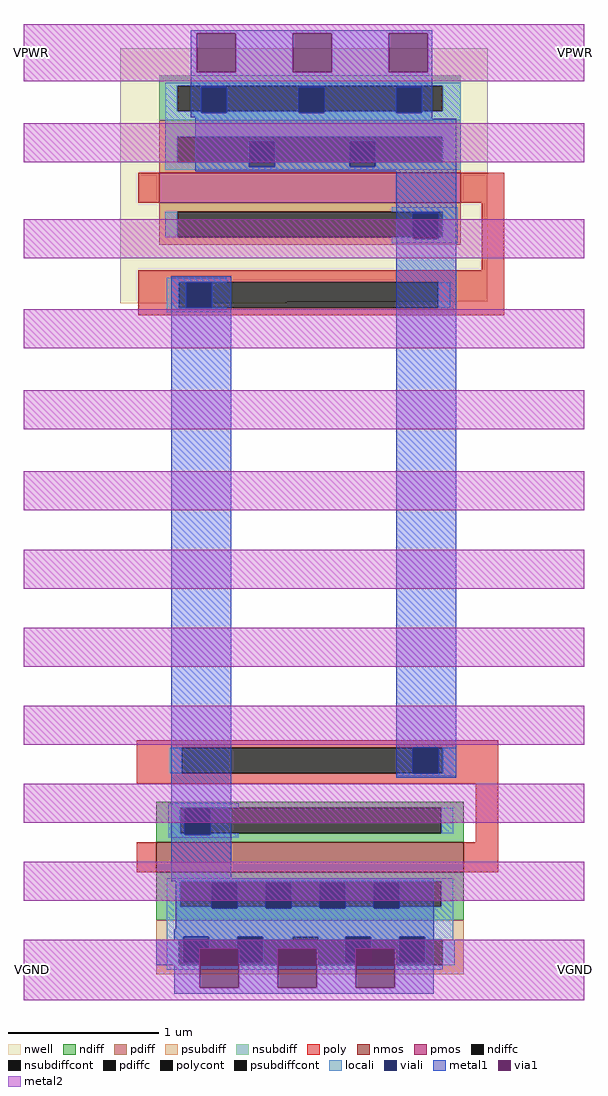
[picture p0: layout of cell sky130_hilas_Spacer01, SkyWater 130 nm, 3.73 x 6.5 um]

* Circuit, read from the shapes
.subckt sky130_hilas_Spacer01 VPWR VGND
XM1 VGND VPWR VGND VGND sky130_fd_pr__nfet_01v8 w=2.05 l=0.2
XM2 VPWR VGND VPWR VPWR sky130_fd_pr__pfet_01v8 w=2.01 l=0.2
.ends

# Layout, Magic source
magic
tech sky130A
<< nwell >>
rect 64 465 309 634
rect 64 464 175 465
<< nmos >>
rect 88 85 293 105
<< pmos >>
rect 90 531 291 551
<< ndiff >>
rect 88 128 293 132
rect 88 111 104 128
rect 278 111 293 128
rect 88 105 293 111
rect 88 79 293 85
rect 88 62 104 79
rect 278 62 293 79
rect 88 53 293 62
<< pdiff >>
rect 90 575 291 586
rect 90 558 102 575
rect 279 558 291 575
rect 90 551 291 558
rect 90 525 291 531
rect 90 508 102 525
rect 279 508 291 525
rect 90 503 291 508
<< ndiffc >>
rect 104 111 278 128
rect 104 62 278 79
<< pdiffc >>
rect 102 558 279 575
rect 102 508 279 525
<< psubdiff >>
rect 88 42 293 53
rect 88 40 142 42
rect 159 40 179 42
rect 196 40 214 42
rect 231 40 250 42
rect 267 40 293 42
rect 88 23 103 40
rect 279 23 293 40
rect 88 17 293 23
<< nsubdiff >>
rect 90 609 291 616
rect 90 592 102 609
rect 279 592 291 609
rect 90 586 291 592
<< psubdiffcont >>
rect 142 40 159 42
rect 179 40 196 42
rect 214 40 231 42
rect 250 40 267 42
rect 103 23 279 40
<< nsubdiffcont >>
rect 102 592 279 609
<< poly >>
rect 76 531 90 551
rect 291 531 320 551
rect 305 486 320 531
rect 76 478 320 486
rect 76 461 103 478
rect 276 461 320 478
rect 76 456 320 461
rect 75 168 316 173
rect 75 151 105 168
rect 279 151 316 168
rect 75 144 316 151
rect 301 105 316 144
rect 75 85 88 105
rect 293 85 316 105
<< polycont >>
rect 103 461 276 478
rect 105 151 279 168
<< locali >>
rect 94 609 291 611
rect 94 592 102 609
rect 279 592 291 609
rect 94 591 118 592
rect 135 591 183 592
rect 200 591 248 592
rect 265 591 291 592
rect 94 575 291 591
rect 94 558 102 575
rect 279 558 291 575
rect 94 555 150 558
rect 167 555 217 558
rect 234 555 291 558
rect 94 553 291 555
rect 245 525 289 528
rect 94 508 102 525
rect 279 508 289 525
rect 245 507 259 508
rect 276 507 289 508
rect 245 504 289 507
rect 95 478 135 481
rect 95 461 103 478
rect 276 461 284 478
rect 95 458 135 461
rect 97 151 105 168
rect 279 151 288 168
rect 248 149 288 151
rect 96 128 143 131
rect 96 111 104 128
rect 278 111 286 128
rect 96 110 107 111
rect 124 110 143 111
rect 96 108 143 110
rect 95 79 286 81
rect 95 62 104 79
rect 278 62 286 79
rect 95 61 125 62
rect 142 61 161 62
rect 178 61 197 62
rect 214 61 233 62
rect 250 61 286 62
rect 95 42 286 61
rect 95 40 106 42
rect 123 40 142 42
rect 95 23 103 40
rect 159 40 179 42
rect 196 40 214 42
rect 231 40 250 42
rect 267 40 286 42
rect 279 23 287 40
rect 95 20 279 23
<< viali >>
rect 118 592 135 608
rect 183 592 200 608
rect 248 592 265 608
rect 118 591 135 592
rect 183 591 200 592
rect 248 591 265 592
rect 150 558 167 572
rect 217 558 234 572
rect 150 555 167 558
rect 217 555 234 558
rect 259 508 276 524
rect 259 507 276 508
rect 108 461 125 478
rect 259 151 276 168
rect 107 111 124 128
rect 107 110 124 111
rect 125 62 142 78
rect 161 62 178 78
rect 197 62 214 78
rect 233 62 250 78
rect 125 61 142 62
rect 161 61 178 62
rect 197 61 214 62
rect 233 61 250 62
rect 106 40 123 42
rect 106 25 123 40
rect 142 25 159 42
rect 214 25 231 42
rect 250 25 267 42
<< metal1 >>
rect 111 644 272 646
rect 111 618 115 644
rect 141 618 179 644
rect 205 618 243 644
rect 269 618 272 644
rect 111 608 272 618
rect 111 591 118 608
rect 135 591 183 608
rect 200 591 248 608
rect 265 591 272 608
rect 111 588 272 591
rect 114 587 272 588
rect 114 572 288 587
rect 114 555 150 572
rect 167 555 217 572
rect 234 555 288 572
rect 114 552 288 555
rect 248 524 288 552
rect 248 507 259 524
rect 276 507 288 524
rect 98 478 138 482
rect 98 461 108 478
rect 125 461 138 478
rect 98 128 138 461
rect 248 168 288 507
rect 248 151 259 168
rect 276 151 288 168
rect 248 148 288 151
rect 98 110 107 128
rect 124 110 138 128
rect 98 81 138 110
rect 98 79 273 81
rect 101 78 273 79
rect 101 61 125 78
rect 142 61 161 78
rect 178 61 197 78
rect 214 61 233 78
rect 250 61 273 78
rect 101 47 273 61
rect 100 42 273 47
rect 100 40 106 42
rect 88 25 106 40
rect 123 34 142 42
rect 159 34 214 42
rect 231 34 250 42
rect 159 25 169 34
rect 88 23 117 25
rect 100 8 117 23
rect 143 8 169 25
rect 195 25 214 34
rect 247 25 250 34
rect 267 25 273 42
rect 195 8 221 25
rect 247 8 273 25
rect 100 4 273 8
<< via1 >>
rect 115 618 141 644
rect 179 618 205 644
rect 243 618 269 644
rect 117 25 123 34
rect 123 25 142 34
rect 142 25 143 34
rect 117 8 143 25
rect 169 8 195 34
rect 221 25 231 34
rect 231 25 247 34
rect 221 8 247 25
<< metal2 >>
rect 0 644 373 650
rect 0 618 115 644
rect 141 618 179 644
rect 205 618 243 644
rect 269 618 373 644
rect 0 612 373 618
rect 0 558 373 584
rect 0 494 373 520
rect 0 434 373 460
rect 0 380 373 406
rect 0 326 373 352
rect 0 274 373 300
rect 0 222 373 248
rect 0 170 373 196
rect 0 118 373 144
rect 0 66 373 92
rect 0 34 373 40
rect 0 8 117 34
rect 143 8 169 34
rect 195 8 221 34
rect 247 8 373 34
rect 0 0 373 8
<< labels >>
rlabel metal2 362 612 373 650 0 VPWR
port 1 nsew
rlabel metal2 0 612 10 650 0 VPWR
port 1 nsew
rlabel metal2 362 0 373 40 0 VGND
port 2 nsew
rlabel metal2 0 0 11 40 0 VGND
port 2 nsew
<< properties >>
string LEFsite unithd
string LEFclass CORE
string LEFsymmetry X Y R90
<< end >>
